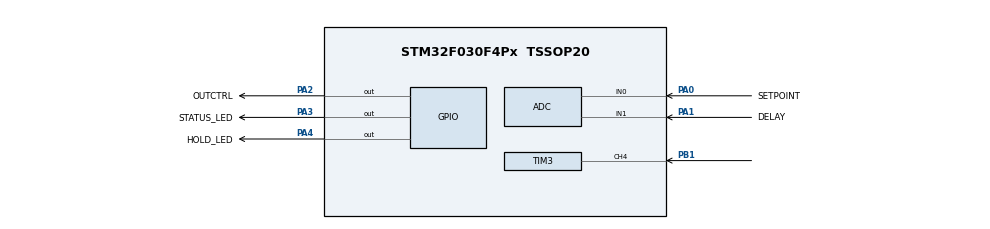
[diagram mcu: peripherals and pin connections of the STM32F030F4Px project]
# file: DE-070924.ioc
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ADC.DiscontinuousConvMode=ENABLE
Mcu.Family=STM32F0
Mcu.Name=STM32F030F4Px
Mcu.Package=TSSOP20
NVIC.TIM3_IRQn=true\:0\:0\:false\:false\:true\:true\:true\:true
PA0.GPIO_Label=SETPOINT
PA0.Mode=IN0
PA0.Signal=ADC_IN0
PA1.GPIO_Label=DELAY
PA1.Mode=IN1
PA1.Signal=ADC_IN1
PA13.Mode=Serial_Wire
PA13.Signal=SYS_SWDIO
PA14.Mode=Serial_Wire
PA14.Signal=SYS_SWCLK
PA2.GPIO_Label=OUTCTRL
PA2.Signal=GPIO_Output
PA3.GPIO_Label=STATUS_LED
PA3.Signal=GPIO_Output
PA4.GPIO_Label=HOLD_LED
PA4.Signal=GPIO_Output
PB1.Signal=S_TIM3_CH4
ProjectManager.HeapSize=0x200
ProjectManager.StackSize=0x400
ProjectManager.TargetToolchain=MDK-ARM V5.32
SH.S_TIM3_CH4.0=TIM3_CH4,Input_Capture4_from_TI4
TIM3.AutoReloadPreload=TIM_AUTORELOAD_PRELOAD_ENABLE
TIM3.Channel-Input_Capture4_from_TI4=TIM_CHANNEL_4
VP_IWDG_VS_IWDG.Mode=IWDG_Activate
VP_TIM3_VS_ClockSourceINT.Mode=Internal
board=custom

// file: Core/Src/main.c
/* USER CODE BEGIN Header */
/**
  ******************************************************************************
  * @file           : main.c
  * @brief          : Main program body
  ******************************************************************************
  * @attention
  *
  * Copyright (c) 2024 STMicroelectronics.
  * All rights reserved.
  *
  * This software is licensed under terms that can be found in the LICENSE file
  * in the root directory of this software component.
  * If no LICENSE file comes with this software, it is provided AS-IS.
  *
  ******************************************************************************
  */
/* USER CODE END Header */
#include "main.h"

ADC_HandleTypeDef hadc;

IWDG_HandleTypeDef hiwdg;

TIM_HandleTypeDef htim3;

/* USER CODE BEGIN PV */
#define IDLE   0
#define DONE   1
#define F_CLK  8000000UL
#define ADC_READOUT_PERIOD 100
#define TRIGGER_TIME 5000 //  wind treshold to trigger shutter down

volatile uint8_t gu8_State = IDLE, tick = 0, tickcnt = 0, redled = 0, init = 0;
volatile uint8_t gu8_MSG[35] = {'\0'};
volatile uint32_t gu32_T1 = 0;
volatile uint32_t gu32_T2 = 0;
volatile uint32_t gu32_Ticks = 0;
volatile uint16_t gu16_TIM3_OVC = 0;
volatile uint32_t gu32_Freq = 0;
volatile uint32_t ledtmr, ledtime = 200, nulltmr = 0, trgtmr = 0;
volatile uint32_t redledtmr = 0;
volatile uint8_t setpoint = 0, delay = 0;
/* USER CODE END PV */

void SystemClock_Config(void);
static void MX_GPIO_Init(void);
static void MX_ADC_Init(void);
static void MX_IWDG_Init(void);
static void MX_TIM3_Init(void);
/* USER CODE BEGIN PFP */
static void LED(void);
static void OUT(void);
static void ADC3_Read(void);
long map(long x, long in_min, long in_max, long out_min, long out_max);
/* USER CODE END PFP */

int main(void)
{

	/* MCU Configuration--------------------------------------------------------*/

	/* Reset of all peripherals, Initializes the Flash interface and the Systick. */
	HAL_Init();

	/* Configure the system clock */
	SystemClock_Config();

	/* Initialize all configured peripherals */
	MX_GPIO_Init();
	MX_ADC_Init();
	MX_IWDG_Init();
	MX_TIM3_Init();

	/* USER CODE BEGIN 2 */
	HAL_TIM_Base_Start_IT(&htim3);
	HAL_TIM_IC_Start_IT(&htim3, TIM_CHANNEL_4);

	/* USER CODE END 2 */

	/* Infinite loop */
	/* USER CODE BEGIN WHILE */
	while(1)
	{
		ADC3_Read();
		LED();
		OUT();
		/* USER CODE END WHILE */

		/* USER CODE BEGIN 3 */
		if(nulltmr && (HAL_GetTick() - nulltmr >= 2000))
		{
			gu32_Freq = 0;
			nulltmr = 0;
		}

#ifdef USE_WATCHDOG
		HAL_IWDG_Refresh(&hiwdg);
#endif
	}
	/* USER CODE END 3 */
}

void SystemClock_Config(void)
{
	RCC_OscInitTypeDef RCC_OscInitStruct = {0};
	RCC_ClkInitTypeDef RCC_ClkInitStruct = {0};

	/** Initializes the RCC Oscillators according to the specified parameters
	* in the RCC_OscInitTypeDef structure.
	*/
	RCC_OscInitStruct.OscillatorType = RCC_OSCILLATORTYPE_HSI | RCC_OSCILLATORTYPE_HSI14
	                                   | RCC_OSCILLATORTYPE_LSI;
	RCC_OscInitStruct.HSIState = RCC_HSI_ON;
	RCC_OscInitStruct.HSI14State = RCC_HSI14_ON;
	RCC_OscInitStruct.HSICalibrationValue = RCC_HSICALIBRATION_DEFAULT;
	RCC_OscInitStruct.HSI14CalibrationValue = 16;
	RCC_OscInitStruct.LSIState = RCC_LSI_ON;
	RCC_OscInitStruct.PLL.PLLState = RCC_PLL_NONE;
	if(HAL_RCC_OscConfig(&RCC_OscInitStruct) != HAL_OK)
	{
		Error_Handler();
	}

	/** Initializes the CPU, AHB and APB buses clocks
	*/
	RCC_ClkInitStruct.ClockType = RCC_CLOCKTYPE_HCLK | RCC_CLOCKTYPE_SYSCLK
	                              | RCC_CLOCKTYPE_PCLK1;
	RCC_ClkInitStruct.SYSCLKSource = RCC_SYSCLKSOURCE_HSI;
	RCC_ClkInitStruct.AHBCLKDivider = RCC_SYSCLK_DIV1;
	RCC_ClkInitStruct.APB1CLKDivider = RCC_HCLK_DIV1;

	if(HAL_RCC_ClockConfig(&RCC_ClkInitStruct, FLASH_LATENCY_0) != HAL_OK)
	{
		Error_Handler();
	}
}

static void MX_ADC_Init(void)
{

	ADC_ChannelConfTypeDef sConfig = {0};

	/** Configure the global features of the ADC (Clock, Resolution, Data Alignment and number of conversion)
	*/
	hadc.Instance = ADC1;
	hadc.Init.ClockPrescaler = ADC_CLOCK_ASYNC_DIV1;
	hadc.Init.Resolution = ADC_RESOLUTION_12B;
	hadc.Init.DataAlign = ADC_DATAALIGN_RIGHT;
	hadc.Init.ScanConvMode = DISABLE;//ADC_SCAN_DIRECTION_FORWARD;
	hadc.Init.EOCSelection = ADC_EOC_SINGLE_CONV;
	hadc.Init.LowPowerAutoWait = DISABLE;
	hadc.Init.LowPowerAutoPowerOff = DISABLE;
	hadc.Init.ContinuousConvMode = DISABLE;
	hadc.Init.DiscontinuousConvMode = ENABLE;
	hadc.Init.ExternalTrigConv = ADC_SOFTWARE_START;
	hadc.Init.ExternalTrigConvEdge = ADC_EXTERNALTRIGCONVEDGE_NONE;
	hadc.Init.DMAContinuousRequests = DISABLE;
	hadc.Init.Overrun = ADC_OVR_DATA_PRESERVED;
	if(HAL_ADC_Init(&hadc) != HAL_OK)
	{
		Error_Handler();
	}

	/** Configure for the selected ADC regular channel to be converted.
	*/
	sConfig.Channel = ADC_CHANNEL_0;
	sConfig.Rank = ADC_RANK_CHANNEL_NUMBER;
	sConfig.SamplingTime = ADC_SAMPLETIME_13CYCLES_5;
	if(HAL_ADC_ConfigChannel(&hadc, &sConfig) != HAL_OK)
	{
		Error_Handler();
	}

	/** Configure for the selected ADC regular channel to be converted.
	*/
	sConfig.Channel = ADC_CHANNEL_1;
	if(HAL_ADC_ConfigChannel(&hadc, &sConfig) != HAL_OK)
	{
		Error_Handler();
	}

}

static void MX_IWDG_Init(void)
{

	/* USER CODE BEGIN IWDG_Init 0 */
#ifdef USE_WATCHDOG
	/* USER CODE END IWDG_Init 0 */

	hiwdg.Instance = IWDG;
	hiwdg.Init.Prescaler = IWDG_PRESCALER_4;
	hiwdg.Init.Window = 4095;
	hiwdg.Init.Reload = 4095;
	if(HAL_IWDG_Init(&hiwdg) != HAL_OK)
	{
		Error_Handler();
	}
	/* USER CODE BEGIN IWDG_Init 2 */
#endif
	/* USER CODE END IWDG_Init 2 */

}

static void MX_TIM3_Init(void)
{

	TIM_ClockConfigTypeDef sClockSourceConfig = {0};
	TIM_MasterConfigTypeDef sMasterConfig = {0};
	TIM_IC_InitTypeDef sConfigIC = {0};

	htim3.Instance = TIM3;
	htim3.Init.Prescaler = 0;
	htim3.Init.CounterMode = TIM_COUNTERMODE_UP;
	htim3.Init.Period = 65535;
	htim3.Init.ClockDivision = TIM_CLOCKDIVISION_DIV1;
	htim3.Init.AutoReloadPreload = TIM_AUTORELOAD_PRELOAD_ENABLE;
	if(HAL_TIM_Base_Init(&htim3) != HAL_OK)
	{
		Error_Handler();
	}
	sClockSourceConfig.ClockSource = TIM_CLOCKSOURCE_INTERNAL;
	if(HAL_TIM_ConfigClockSource(&htim3, &sClockSourceConfig) != HAL_OK)
	{
		Error_Handler();
	}
	if(HAL_TIM_IC_Init(&htim3) != HAL_OK)
	{
		Error_Handler();
	}
	sMasterConfig.MasterOutputTrigger = TIM_TRGO_RESET;
	sMasterConfig.MasterSlaveMode = TIM_MASTERSLAVEMODE_DISABLE;
	if(HAL_TIMEx_MasterConfigSynchronization(&htim3, &sMasterConfig) != HAL_OK)
	{
		Error_Handler();
	}
	sConfigIC.ICPolarity = TIM_INPUTCHANNELPOLARITY_RISING;
	sConfigIC.ICSelection = TIM_ICSELECTION_DIRECTTI;
	sConfigIC.ICPrescaler = TIM_ICPSC_DIV1;
	sConfigIC.ICFilter = 0;
	if(HAL_TIM_IC_ConfigChannel(&htim3, &sConfigIC, TIM_CHANNEL_4) != HAL_OK)
	{
		Error_Handler();
	}

}

static void MX_GPIO_Init(void)
{
	GPIO_InitTypeDef GPIO_InitStruct = {0};

	/* GPIO Ports Clock Enable */
	__HAL_RCC_GPIOA_CLK_ENABLE();
	__HAL_RCC_GPIOB_CLK_ENABLE();

	/*Configure GPIO pin Output Level */
	HAL_GPIO_WritePin(GPIOA, OUTCTRL_Pin | STATUS_LED_Pin | HOLD_LED_Pin, GPIO_PIN_RESET);

	/*Configure GPIO pins : OUTCTRL_Pin STATUS_LED_Pin HOLD_LED_Pin */
	GPIO_InitStruct.Pin = OUTCTRL_Pin | STATUS_LED_Pin | HOLD_LED_Pin;
	GPIO_InitStruct.Mode = GPIO_MODE_OUTPUT_PP;
	GPIO_InitStruct.Pull = GPIO_NOPULL;
	GPIO_InitStruct.Speed = GPIO_SPEED_FREQ_LOW;
	HAL_GPIO_Init(GPIOA, &GPIO_InitStruct);

}

/* USER CODE BEGIN 4 */
long map(long x, long in_min, long in_max, long out_min, long out_max)
{
	return (x - in_min) * (out_max - out_min) / (in_max - in_min) + out_min;
}

void HAL_TIM_IC_CaptureCallback(TIM_HandleTypeDef* htim)
{
	if(gu8_State == IDLE)
	{
		gu32_T1 = TIM3->CCR4;
		gu16_TIM3_OVC = 0;
		gu8_State = DONE;
	}
	else if(gu8_State == DONE)
	{
		gu32_T2 = TIM3->CCR4;
		gu32_Ticks = (gu32_T2 + (gu16_TIM3_OVC * 65536)) - gu32_T1;
		gu32_Freq = (uint32_t)(F_CLK / gu32_Ticks) + 1;
		gu8_State = IDLE;
		tick = 1;
	}
	nulltmr = HAL_GetTick();
}

void HAL_TIM_PeriodElapsedCallback(TIM_HandleTypeDef* htim)
{
	gu16_TIM3_OVC++;
}

static void OUT(void)
{
	if(!init) return;

	switch(redled)
	{
		case 0:
			if(setpoint < gu32_Freq)
			{
				trgtmr = HAL_GetTick();
				++redled;
			}
			break;
		case 1:
			if(setpoint >= gu32_Freq)
			{
				redled = 0;
			}
			else if((HAL_GetTick() - trgtmr) >= TRIGGER_TIME)
			{
				HAL_GPIO_WritePin(OUTCTRL_GPIO_Port, OUTCTRL_Pin, GPIO_PIN_SET);
				trgtmr = HAL_GetTick();
				++redled;
			}
			break;
		case 2:
			if(setpoint < gu32_Freq)
			{
				trgtmr = HAL_GetTick();
			}
			else if((HAL_GetTick() - trgtmr) >= (delay * 60000U))
			{
				HAL_GPIO_WritePin(OUTCTRL_GPIO_Port, OUTCTRL_Pin, GPIO_PIN_RESET);
				trgtmr = 0;
				redled = 0;
				redledtmr = 0;
			}
			break;
		default:
			trgtmr = 0;
			redled = 0;
			redledtmr = 0;
			break;

	}
}

static void LED(void)
{
	if(tick)
	{
		if(tickcnt == 0)
		{
			HAL_GPIO_WritePin(STATUS_LED_GPIO_Port, STATUS_LED_Pin, GPIO_PIN_SET);
			ledtmr = HAL_GetTick();
			++tickcnt;
		}
		else if(tickcnt == 1)
		{
			if((HAL_GetTick() - ledtmr) >= 5)
			{
				tick = 0;
				tickcnt = 0;
				ledtmr = HAL_GetTick();
				HAL_GPIO_WritePin(STATUS_LED_GPIO_Port, STATUS_LED_Pin, GPIO_PIN_RESET);
			}
		}
	}
	else if((HAL_GetTick() - ledtmr) >= ledtime)
	{
		ledtmr = HAL_GetTick();
		if(HAL_GPIO_ReadPin(STATUS_LED_GPIO_Port, STATUS_LED_Pin) == GPIO_PIN_SET)
		{
			HAL_GPIO_WritePin(STATUS_LED_GPIO_Port, STATUS_LED_Pin, GPIO_PIN_RESET);
			ledtime = 5000;
		}
		else
		{
			HAL_GPIO_WritePin(STATUS_LED_GPIO_Port, STATUS_LED_Pin, GPIO_PIN_SET);
			ledtime = 5;
		}
	}

	if(redled == 0)
	{
		HAL_GPIO_WritePin(HOLD_LED_GPIO_Port, HOLD_LED_Pin, GPIO_PIN_RESET);
	}
	else if(redled == 1)
	{
		if((HAL_GetTick() - redledtmr) >= 100)
		{
			redledtmr = HAL_GetTick();
			HAL_GPIO_TogglePin(HOLD_LED_GPIO_Port, HOLD_LED_Pin);
		}
	}
	else if(redled == 2) HAL_GPIO_WritePin(HOLD_LED_GPIO_Port, HOLD_LED_Pin, GPIO_PIN_SET);

}
/**
  * @brief
  * @param
  * @retval
  */
static void ADC3_Read(void)
{
	ADC_ChannelConfTypeDef sConfig;

	static uint32_t adc_timer = 0U;
	static uint32_t setpoint_sample_cnt = 0U;
	static uint32_t delay_sample_cnt = 0U;
	static uint16_t setpoint_sample[10] = {0U, 0U, 0U, 0U, 0U, 0U, 0U, 0U, 0U, 0U};
	static uint16_t delay_sample[10] = {0U, 0U, 0U, 0U, 0U, 0U, 0U, 0U, 0U, 0U};
	static uint8_t adc_cnt = 0U;
	uint32_t tmp_val = 0, t = 0;

	if((HAL_GetTick() - adc_timer) >= ADC_READOUT_PERIOD)
	{
		adc_timer = HAL_GetTick();
		sConfig.Rank = ADC_RANK_CHANNEL_NUMBER;
		sConfig.SamplingTime = ADC_SAMPLETIME_13CYCLES_5;
		if(adc_cnt == 0U) sConfig.Channel = ADC_CHANNEL_0;
		else if(adc_cnt == 1U) sConfig.Channel = ADC_CHANNEL_1;
		HAL_ADC_ConfigChannel(&hadc, &sConfig);
		HAL_ADC_Start(&hadc);
		HAL_ADC_PollForConversion(&hadc, 10);

		if(adc_cnt == 0U)
		{
			setpoint_sample[setpoint_sample_cnt] = HAL_ADC_GetValue(&hadc);
			if(++setpoint_sample_cnt >  9U) setpoint_sample_cnt = 0U;
			tmp_val = 0U;
			for(t = 0U; t < 10U; t++) tmp_val += setpoint_sample[t];
			tmp_val = tmp_val / 10U;
			setpoint = map(tmp_val, 0, 4095, 0, 100);
			++adc_cnt;
		}
		else if(adc_cnt == 1U)
		{
			delay_sample[delay_sample_cnt] = HAL_ADC_GetValue(&hadc);
			if(++delay_sample_cnt >  9U)
			{
				delay_sample_cnt = 0U;
				init = 1;
			}
			tmp_val = 0U;
			for(t = 0U; t < 10U; t++) tmp_val += delay_sample[t];
			tmp_val = tmp_val / 10U;
			delay = map(tmp_val, 0, 4095, 0, 50);
			adc_cnt = 0;
		}
	}
}
/* USER CODE END 4 */

void Error_Handler(void)
{
	/* USER CODE BEGIN Error_Handler_Debug */
	/* User can add his own implementation to report the HAL error return state */
	__disable_irq();
	while(1)
	{
		HAL_NVIC_SystemReset();
	}
	/* USER CODE END Error_Handler_Debug */
}
